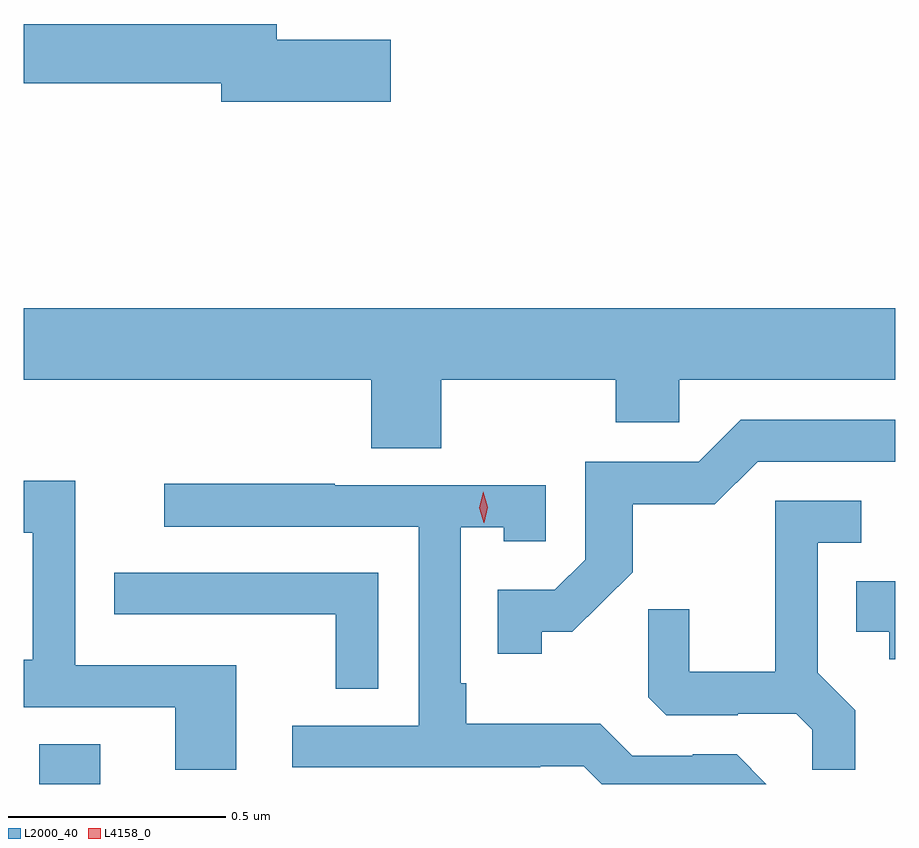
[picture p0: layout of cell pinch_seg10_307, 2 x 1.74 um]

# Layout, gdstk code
import gdstk
lib = gdstk.Library(unit=1e-6, precision=1e-09)
def R(c, l, rs):  # rectangles x0, y0, x1, y1
    for r in rs: c.add(gdstk.rectangle(r[:2], r[2:], *l))
def P(c, l, *ps):  # polygons
    for p in ps: c.add(gdstk.Polygon(p, *l))
L2000_40 = (2000, 40)
L4158_0 = (4158, 0)

pinch_seg10_307 = lib.new_cell('pinch_seg10_307')
R(pinch_seg10_307, L2000_40, [(491.933,1314.04,492.073,1314.131)])
P(pinch_seg10_307, L2000_40, [(492.739,1315.748),(492.478,1315.748),(492.478,1315.784),(491.897,1315.784),(491.897,1315.648),(492.35,1315.648),(492.35,1315.606),(492.739,1315.606)],
  [(492.855,1314.968),(493.255,1314.968),(493.255,1314.87),(493.401,1314.87),(493.401,1314.968),(493.897,1314.968),(493.897,1315.132),(491.897,1315.132),(491.897,1314.968),(492.695,1314.968),(492.695,1314.811),(492.855,1314.811)],
  [(493.086,1314.389),(493.156,1314.389),(493.294,1314.526),(493.294,1314.682),(493.483,1314.682),(493.581,1314.78),(493.897,1314.78),(493.897,1314.876),(493.542,1314.876),(493.446,1314.78),(493.185,1314.78),(493.185,1314.555),(493.116,1314.486),(492.985,1314.486),(492.985,1314.339),(493.086,1314.339)],
  [(492.385,1314.312),(492.015,1314.312),(492.015,1314.736),(491.897,1314.736),(491.897,1314.616),(491.918,1314.616),(491.918,1314.325),(491.897,1314.325),(491.897,1314.216),(492.245,1314.216),(492.245,1314.073),(492.385,1314.073)],
  [(493.533,1314.108),(493.432,1314.108),(493.432,1314.105),(493.293,1314.105),(493.22,1314.178),(492.913,1314.178),(492.913,1314.271),(492.9,1314.271),(492.9,1314.629),(492.999,1314.629),(492.999,1314.597),(493.095,1314.597),(493.095,1314.726),(492.611,1314.726),(492.611,1314.729),(492.219,1314.729),(492.219,1314.63),(492.804,1314.63),(492.804,1314.174),(492.513,1314.174),(492.513,1314.078),(493.082,1314.078),(493.082,1314.081),(493.182,1314.081),(493.223,1314.04),(493.601,1314.04)],
  [(493.805,1314.209),(493.719,1314.295),(493.719,1314.594),(493.819,1314.594),(493.819,1314.69),(493.622,1314.69),(493.622,1314.298),(493.424,1314.298),(493.424,1314.441),(493.33,1314.441),(493.33,1314.239),(493.371,1314.198),(493.536,1314.198),(493.536,1314.201),(493.67,1314.201),(493.707,1314.164),(493.707,1314.073),(493.805,1314.073)],
  [(492.711,1314.525),(492.105,1314.525),(492.105,1314.43),(492.217,1314.43),(492.217,1314.429),(492.613,1314.429),(492.613,1314.259),(492.711,1314.259)],
  [(493.897,1314.505),(493.808,1314.505),(493.808,1314.389),(493.883,1314.389),(493.883,1314.326),(493.897,1314.326)])
P(pinch_seg10_307, L4158_0, [(492.953,1314.639),(492.953,1314.639),(492.942,1314.674),(492.951,1314.711),(492.951,1314.711),(492.951,1314.711),(492.962,1314.675),(492.954,1314.639)])

lib.write_gds('pinch_seg10_307.gds')
